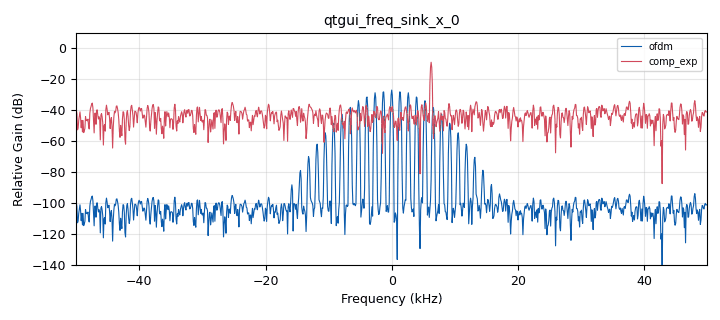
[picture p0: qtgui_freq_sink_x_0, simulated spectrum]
options:
  parameters:
    generate_options: qt_gui
    id: run_MUSIC_lin_array_simulation
    output_language: python
  states: {}

blocks:
- name: amp
  id: variable
  parameters:
    value: '1'
  states: {}
- name: amv0
  id: variable
  parameters:
    value: numpy.exp(-1j*ant_locs*2*numpy.pi*numpy.cos(theta0))
  states: {}
- name: amv1
  id: variable
  parameters:
    value: numpy.exp(-1j*ant_locs*2*numpy.pi*numpy.cos(theta1))
  states: {}
- name: ant_locs
  id: variable
  parameters:
    value: numpy.dot(input_variables.NormSpacing, numpy.arange(input_variables.NumArrayElements/2, -input_variables.NumArrayElements/2, -1) if (input_variables.NumArrayElements%2==1) else numpy.arange(input_variables.NumArrayElements/2-0.5, -input_variables.NumArrayElements/2-0.5, -1))
  states: {}
- name: array_manifold_matrix
  id: variable
  parameters:
    value: numpy.array([amv0, amv1]).transpose()
  states: {}
- name: fft_len
  id: variable
  parameters:
    value: '64'
  states: {}
- name: freq
  id: variable
  parameters:
    value: 13e2
  states: {}
- name: g
  id: variable
  parameters:
    value: 'amp*np.exp((-(x_val_f - mu)*(x_val_f - mu))/(2*sig*sig))  '
  states: {}
- name: g_0
  id: variable
  parameters:
    value: np.tile(g, int(freq))
  states: {}
- name: len_tag_key
  id: variable
  parameters:
    value: '"packet_len"'
  states: {}
- name: len_x
  id: variable
  parameters:
    value: len(x_val_f)
  states: {}
- name: mu
  id: variable
  parameters:
    value: x_val_f[int(len_x/2)]
  states: {}
- name: packet_len
  id: variable
  parameters:
    value: '50'
  states: {}
- name: samp_rate
  id: variable
  parameters:
    value: '100000'
  states: {}
- name: sig
  id: variable
  parameters:
    value: mu/10
  states: {}
- name: theta0
  id: variable
  parameters:
    value: numpy.pi*theta0_deg/180
  states: {}
- name: theta0_deg
  id: variable_qtgui_range
  parameters:
    label: ofdm angle
    orient: Qt.Horizontal
    start: '0'
    step: '1'
    stop: '180'
    value: '30'
  states: {}
- name: theta1
  id: variable
  parameters:
    value: numpy.pi*theta1_deg/180
  states: {}
- name: theta1_deg
  id: variable_qtgui_range
  parameters:
    label: comp_exp angle
    orient: Qt.Horizontal
    start: '0'
    step: '1'
    stop: '180'
    value: '123'
  states: {}
- name: x
  id: variable
  parameters:
    value: np.linspace(0,1,samp_rate)
  states: {}
- name: x_val_f
  id: variable
  parameters:
    value: x[0:int(samp_rate/freq)]
  states: {}
- name: analog_noise_source_x_0_0
  id: analog_noise_source_x
  parameters:
    amp: '0.0005'
    noise_type: analog.GR_GAUSSIAN
    seed: '0'
    type: complex
  states: {}
- name: analog_noise_source_x_0_0_0
  id: analog_noise_source_x
  parameters:
    amp: '0.5'
    noise_type: analog.GR_GAUSSIAN
    seed: '0'
    type: complex
  states: {}
- name: analog_sig_source_x_0
  id: analog_sig_source_x
  parameters:
    amp: '1'
    freq: input_variables.ToneFreq1
    offset: '0'
    phase: '0'
    samp_rate: input_variables.SampleRate
    type: complex
    waveform: analog.GR_COS_WAVE
  states: {state: disabled}
- name: analog_sig_source_x_0_0
  id: analog_sig_source_x
  parameters:
    amp: '1'
    freq: input_variables.ToneFreq2
    offset: '0'
    phase: '0'
    samp_rate: input_variables.SampleRate
    type: complex
    waveform: analog.GR_COS_WAVE
  states: {}
- name: blocks_add_xx_0
  id: blocks_add_xx
  parameters:
    type: complex
  states: {}
- name: blocks_add_xx_0_0
  id: blocks_add_xx
  parameters:
    type: complex
  states: {}
- name: blocks_multiply_matrix_xx_0
  id: blocks_multiply_matrix_xx
  parameters:
    A: array_manifold_matrix
    tag_propagation_policy: gr.TPP_ALL_TO_ALL
    type: complex
  states: {}
- name: blocks_null_sink_0
  id: blocks_null_sink
  parameters:
    type: float
    vlen: input_variables.NumTargets
  states: {}
- name: blocks_stream_to_tagged_stream_0
  id: blocks_stream_to_tagged_stream
  parameters:
    len_tag_key: len_tag_key
    packet_len: packet_len
    type: byte
  states: {state: disabled}
- name: blocks_throttle_0_0
  id: blocks_throttle
  parameters:
    samples_per_second: input_variables.SampleRate
    type: complex
  states: {}
- name: blocks_vector_source_x_0
  id: blocks_vector_source_x
  parameters:
    repeat: 'True'
    tags: ()
    type: byte
    vector: range(packet_len)
  states: {state: disabled}
- name: blocks_vector_source_x_1
  id: blocks_vector_source_x
  parameters:
    comment: sample rate 10M freq1 M
    repeat: 'True'
    type: complex
    vector: g_0
  states: {}
- name: blocks_vector_to_streams_0
  id: blocks_vector_to_streams
  parameters:
    num_streams: input_variables.NumTargets
    type: float
  states: {}
- name: digital_ofdm_tx_0
  id: digital_ofdm_tx
  parameters:
    cp_len: fft_len//4
    fft_len: fft_len
    header_mod: '"BPSK"'
    occupied_carriers: ((-4,-3,-2,-2,3,4),)
    packet_len_key: len_tag_key
    payload_mod: '"QPSK"'
    pilot_carriers: ((-6,-5,5,6),)
    pilot_symbols: ((-1,1,-1,1),)
    rolloff: '0'
    sync_word1: None
    sync_word2: None
  states: {state: disabled}
- name: doa_MUSIC_lin_array_0
  id: doa_MUSIC_lin_array
  parameters:
    inputs: input_variables.NumArrayElements
    norm_spacing: input_variables.NormSpacing
    num_targets: input_variables.NumTargets
    pspectrum_len: input_variables.PSpectrumLength
  states: {}
- name: doa_autocorrelate_0
  id: doa_autocorrelate
  parameters:
    avg_method: '1'
    inputs: input_variables.NumArrayElements
    overlap_size: input_variables.OverlapSize
    snapshot_size: input_variables.SnapshotSize
  states: {}
- name: doa_compass
  id: doa_qt_compass
  parameters:
    arc_bias: '0'
    gui_hint: tab@2
    max_val: '180'
    min_val: '0'
    name: '""'
    step: '10'
    update_time: '0.05'
  states: {state: disabled}
- name: doa_compass_0
  id: doa_qt_compass
  parameters:
    arc_bias: '0'
    gui_hint: tab@1
    max_val: '180'
    min_val: '0'
    name: '""'
    step: '10'
    update_time: '0.05'
  states: {state: disabled}
- name: doa_find_local_max_0
  id: doa_find_local_max
  parameters:
    num_max_vals: input_variables.NumTargets
    vector_len: input_variables.PSpectrumLength
    x_max: '180.0'
    x_min: '0.0'
  states: {}
- name: import_0
  id: import
  parameters:
    imports: import numpy
  states: {}
- name: import_1
  id: import
  parameters:
    imports: import numpy as np
  states: {}
- name: import_1_0
  id: import
  parameters:
    imports: import math as m
  states: {}
- name: input_variables
  id: epy_module
  parameters:
    comment: |-
      input_variables: 
      Contains all the user-defined variables.
    source_code: |
      # Comment here
      SampleRate = 320000
      ToneFreq1 = 10000
      ToneFreq2 = 20000
      NormSpacing = 0.4
      NumTargets = 2
      NumArrayElements = 4
      PSpectrumLength = 2**10
      SnapshotSize = 2**11
      OverlapSize = 2**9
  states: {}
- name: qtgui_freq_sink_x_0
  id: qtgui_freq_sink_x
  parameters:
    bw: samp_rate
    fc: '0'
    fftsize: '1024'
    label1: ofdm
    label2: comp_exp
    nconnections: '2'
    type: complex
    wintype: firdes.WIN_BLACKMAN_hARRIS
  states: {}
- name: qtgui_number_sink_0
  id: qtgui_number_sink
  parameters:
    graph_type: qtgui.NUM_GRAPH_HORIZ
    gui_hint: tab@0
    max: '180'
    min: '0'
    nconnections: '2'
    type: float
  states: {}
- name: qtgui_vector_sink_f_0
  id: qtgui_vector_sink_f
  parameters:
    grid: 'True'
    gui_hint: tab@0
    showports: 'True'
    update_time: '0.05'
    vlen: input_variables.PSpectrumLength
    width1: '2'
    x_axis_label: '"angle (in degrees)"'
    x_start: '0'
    x_step: 180.0/input_variables.PSpectrumLength
    y_axis_label: '"Pseudo-Spectrum (dB)"'
    ymax: '0'
    ymin: '-50'
  states: {}
- name: tab
  id: qtgui_tab_widget
  parameters:
    label0: Pseudo-Spectrum
    label1: Direction of Arrival
    label2: Direction of Arrival
    num_tabs: '3'
  states: {}
- name: virtual_sink_0
  id: virtual_sink
  parameters:
    stream_id: ofdm
  states: {}
- name: virtual_source_0
  id: virtual_source
  parameters:
    stream_id: ofdm
  states: {}

connections:
- [analog_noise_source_x_0_0, '0', blocks_add_xx_0, '1']
- [analog_noise_source_x_0_0_0, '0', blocks_add_xx_0_0, '1']
- [analog_sig_source_x_0, '0', blocks_add_xx_0, '0']
- [analog_sig_source_x_0_0, '0', blocks_add_xx_0_0, '0']
- [blocks_add_xx_0, '0', blocks_multiply_matrix_xx_0, '0']
- [blocks_add_xx_0, '0', qtgui_freq_sink_x_0, '0']
- [blocks_add_xx_0_0, '0', blocks_throttle_0_0, '0']
- [blocks_add_xx_0_0, '0', qtgui_freq_sink_x_0, '1']
- [blocks_multiply_matrix_xx_0, '0', doa_autocorrelate_0, '0']
- [blocks_multiply_matrix_xx_0, '1', doa_autocorrelate_0, '1']
- [blocks_multiply_matrix_xx_0, '2', doa_autocorrelate_0, '2']
- [blocks_multiply_matrix_xx_0, '3', doa_autocorrelate_0, '3']
- [blocks_stream_to_tagged_stream_0, '0', digital_ofdm_tx_0, '0']
- [blocks_throttle_0_0, '0', blocks_multiply_matrix_xx_0, '1']
- [blocks_vector_source_x_0, '0', blocks_stream_to_tagged_stream_0, '0']
- [blocks_vector_source_x_1, '0', virtual_sink_0, '0']
- [blocks_vector_to_streams_0, '0', doa_compass_0, '0']
- [blocks_vector_to_streams_0, '0', qtgui_number_sink_0, '0']
- [blocks_vector_to_streams_0, '1', doa_compass, '0']
- [blocks_vector_to_streams_0, '1', qtgui_number_sink_0, '1']
- [digital_ofdm_tx_0, '0', virtual_sink_0, '0']
- [doa_MUSIC_lin_array_0, '0', doa_find_local_max_0, '0']
- [doa_MUSIC_lin_array_0, '0', qtgui_vector_sink_f_0, '0']
- [doa_autocorrelate_0, '0', doa_MUSIC_lin_array_0, '0']
- [doa_find_local_max_0, '0', blocks_null_sink_0, '0']
- [doa_find_local_max_0, '1', blocks_vector_to_streams_0, '0']
- [virtual_source_0, '0', blocks_add_xx_0, '0']

metadata:
  file_format: 1
